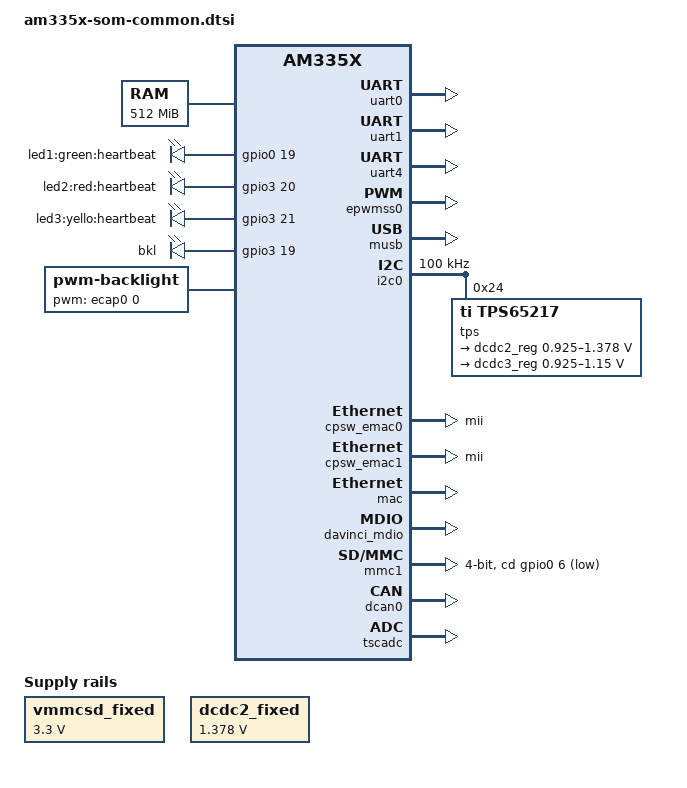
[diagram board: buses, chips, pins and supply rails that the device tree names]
/*
 * Copyright (C) 2012 Texas Instruments Incorporated - http://www.ti.com/
 *
 * This program is free software; you can redistribute it and/or modify
 * it under the terms of the GNU General Public License version 2 as
 * published by the Free Software Foundation.
 */

/ {

	cpus {
		cpu@0 {
			cpu0-supply = <&dcdc2_fixed>;
		};
	};

	memory {
		device_type = "memory";
		reg = <0x80000000 0x20000000>; /* 512 MB */
	};

	ocp {
		uart0: serial@44e09000 {
			pinctrl-names = "default";
			pinctrl-0 = <&uart0_pins>;

			status = "okay";
		};
		uart1: serial@48022000 {
			pinctrl-names = "default";
			pinctrl-0 = <&uart1_pins>;
			status = "okay";

		};
		uart4: serial@481a8000 {
			pinctrl-names = "default";
			pinctrl-0 = <&uart4_pins>;
			status = "okay";
		};

		epwmss0: epwmss@48300000 {
			status = "okay";

			ecap0: ecap@48300100 {
				status = "okay";
				pinctrl-names = "default", "sleep";
				pinctrl-0 = <&ecap0_pins_default>;
				pinctrl-1 = <&ecap0_pins_sleep>;
			};
		};

		musb: usb@47400000 {
			status = "okay";

			control@44e10000 {
				status = "okay";
			};

			usb-phy@47401300 {
				status = "okay";
			};

			usb-phy@47401b00 {
				status = "okay";
			};

			usb@47401000 {
				status = "okay";
				dr_mode = "otg";
			};

			usb@47401800 {
				status = "okay";
				dr_mode = "host";
			};

			dma-controller@07402000  {
				status = "okay";
			};
		};

		i2c0: i2c@44e0b000 {
			pinctrl-names = "default";
			pinctrl-0 = <&i2c0_pins>;
			status = "okay";
			clock-frequency = <100000>;

			tps: tps@24 {
				reg = <0x24>;
			};
		};
	};

	vmmcsd_fixed: fixedregulator@0 {
		compatible = "regulator-fixed";
		regulator-name = "vmmcsd_fixed";
		regulator-min-microvolt = <3300000>;
		regulator-max-microvolt = <3300000>;
	};

	dcdc2_fixed: fixedregulator@1 {
		/* VDD_MPU voltage limits 0.95V - 1.325V with +/-4% tolerance */
		 compatible = "regulator-fixed";
		regulator-name = "dcdc2_fixed";

		regulator-min-microvolt = <1378000>;
		regulator-max-microvolt = <1378000>;
		regulator-boot-on;
		regulator-always-on;
	};

	leds {
		pinctrl-names = "default";
		pinctrl-0 = <&user_leds_s0>;

		compatible = "gpio-leds";

		led@1 {
			label = "led1:green:heartbeat";
			gpios = <&gpio0 19 GPIO_ACTIVE_HIGH>;
			linux,default-trigger = "heartbeat";
		};

		led@2 {
			label = "led2:red:heartbeat";
			gpios = <&gpio3 20 GPIO_ACTIVE_HIGH>;
			linux,default-trigger = "heartbeat";
		};

		led@3 {
			label = "led3:yello:heartbeat";
			gpios = <&gpio3 21 GPIO_ACTIVE_HIGH>;
			linux,default-trigger = "heartbeat";
		};

		led@4 {
			label = "bkl";
			gpios = <&gpio3 19 GPIO_ACTIVE_HIGH>;
			linux,default-trigger = "default-on";
		};
	};

	backlight {
		compatible = "pwm-backlight";
		pwms = <&ecap0 0 500000 1>;
		brightness-levels = <
			0  1  2  3  4  5  6  7  8  9
			10 11 12 13 14 15 16 17 18 19
			20 21 22 23 24 25 26 27 28 29
			30 31 32 33 34 35 36 37 38 39
			40 41 42 43 44 45 46 47 48 49
			50 51 52 53 54 55 56 57 58 59
			60 61 62 63 64 65 66 67 68 69
			70 71 72 73 74 75 76 77 78 79
			80 81 82 83 84 85 86 87 88 89
			90 91 92 93 94 95 96 97 98 99
			100
		>;
		default-brightness-level = <50>;
	};
};

&am33xx_pinmux {
		pinctrl-names = "default";
		pinctrl-0 = <&clkout2_pin>;

		user_leds_s0: user_leds_s0 {
			pinctrl-single,pins = <
				0x1b0 (PIN_OUTPUT_PULLDOWN | MUX_MODE7)	/* xdma_event_intr0.gpio0_19 */
				0x198 (PIN_OUTPUT_PULLDOWN | MUX_MODE7)	/* mcasp0_axr0.gpio3_20 */
				0x1a8 (PIN_OUTPUT_PULLDOWN | MUX_MODE7)	/* mcasp0_axr1.gpio3_21 */
				0x1a4 (PIN_OUTPUT_PULLDOWN | MUX_MODE7) /* mcasp0_fsr.gpio3[19], INPUT_PULLDOWN | MODE7 */
			>;
		};

		i2c0_pins: pinmux_i2c0_pins {
			pinctrl-single,pins = <
				0x188 (PIN_INPUT_PULLUP | MUX_MODE0)	/* i2c0_sda.i2c0_sda */
				0x18c (PIN_INPUT_PULLUP | MUX_MODE0)	/* i2c0_scl.i2c0_scl */
			>;
		};

		uart0_pins: pinmux_uart0_pins {
			pinctrl-single,pins = <
				0x170 (PIN_INPUT_PULLUP | MUX_MODE0)	/* uart0_rxd.uart0_rxd */
				0x174 (PIN_OUTPUT_PULLDOWN | MUX_MODE0)	/* uart0_txd.uart0_txd */
			>;
		};

		uart1_pins: pinmux_uart1_pins {
			pinctrl-single,pins = <
				0x168 (PIN_INPUT_PULLUP | MUX_MODE1)
				0x16c (PIN_OUTPUT_PULLDOWN | MUX_MODE1)
			>;
		};

		uart4_pins: pinmux_uart4_pins {
			pinctrl-single,pins = <
				0x180 (PIN_INPUT_PULLUP | MUX_MODE0)
				0x184 (PIN_OUTPUT_PULLDOWN | MUX_MODE0)
			>;
		};



		clkout2_pin: pinmux_clkout2_pin {
			pinctrl-single,pins = <
				0x1b4 (PIN_OUTPUT_PULLDOWN | MUX_MODE7)	/* xdma_event_intr1.clkout2 */
			>;
		};

		cpsw_default: cpsw_default {
			pinctrl-single,pins = <
				/* Slave 1 */
				0x110 (PIN_INPUT_PULLUP | MUX_MODE0)	/* mii1_rxerr.mii1_rxerr */
				0x114 (PIN_OUTPUT_PULLDOWN | MUX_MODE0)	/* mii1_txen.mii1_txen */
				0x118 (PIN_INPUT_PULLUP | MUX_MODE0)	/* mii1_rxdv.mii1_rxdv */
				0x11c (PIN_OUTPUT_PULLDOWN | MUX_MODE0)	/* mii1_txd3.mii1_txd3 */
				0x120 (PIN_OUTPUT_PULLDOWN | MUX_MODE0)	/* mii1_txd2.mii1_txd2 */
				0x124 (PIN_OUTPUT_PULLDOWN | MUX_MODE0)	/* mii1_txd1.mii1_txd1 */
				0x128 (PIN_OUTPUT_PULLDOWN | MUX_MODE0)	/* mii1_txd0.mii1_txd0 */
				0x12c (PIN_INPUT_PULLUP | MUX_MODE0)	/* mii1_txclk.mii1_txclk */
				0x130 (PIN_INPUT_PULLUP | MUX_MODE0)	/* mii1_rxclk.mii1_rxclk */
				0x134 (PIN_INPUT_PULLUP | MUX_MODE0)	/* mii1_rxd3.mii1_rxd3 */
				0x138 (PIN_INPUT_PULLUP | MUX_MODE0)	/* mii1_rxd2.mii1_rxd2 */
				0x13c (PIN_INPUT_PULLUP | MUX_MODE0)	/* mii1_rxd1.mii1_rxd1 */
				0x140 (PIN_INPUT_PULLUP | MUX_MODE0)	/* mii1_rxd0.mii1_rxd0 */

				0x040 (PIN_OUTPUT_PULLDOWN | MUX_MODE1) /* gpmc_a0.gmii2_txen, OUTPUT_PULLDOWN | MODE1 */
				0x044 (PIN_INPUT_PULLDOWN | MUX_MODE1 ) /* gpmc_a1.gmii2_rxdv, INPUT_PULLDOWN | MODE1 */
				0x048 (PIN_OUTPUT_PULLDOWN | MUX_MODE1) /* gpmc_a2.gmii2_txd3, OUTPUT_PULLDOWN | MODE1 */
				0x04c (PIN_OUTPUT_PULLDOWN | MUX_MODE1) /* gpmc_a3.gmii2_txd2, OUTPUT_PULLDOWN | MODE1 */
				0x050 (PIN_OUTPUT_PULLDOWN | MUX_MODE1) /* gpmc_a4.gmii2_txd1, OUTPUT_PULLDOWN | MODE1 */
				0x054 (PIN_OUTPUT_PULLDOWN | MUX_MODE1) /* gpmc_a5.gmii2_txd0, OUTPUT_PULLDOWN | MODE1 */
				0x058 (PIN_INPUT_PULLDOWN | MUX_MODE1 ) /* gpmc_a6.gmii2_txclk, INPUT_PULLDOWN | MODE1 */
				0x05c (PIN_INPUT_PULLDOWN | MUX_MODE1 ) /* gpmc_a7.gmii2_rxclk, INPUT_PULLDOWN | MODE1 */
				0x060 (PIN_INPUT_PULLDOWN | MUX_MODE1 ) /* gpmc_a8.gmii2_rxd3, INPUT_PULLDOWN | MODE1 */
				0x064 (PIN_INPUT_PULLDOWN | MUX_MODE1 ) /* gpmc_a9.gmii2_rxd2, INPUT_PULLDOWN | MODE1 */
				0x068 (PIN_INPUT_PULLDOWN | MUX_MODE1 ) /* gpmc_a10.gmii2_rxd1, INPUT_PULLDOWN | MODE1 */
				0x06c (PIN_INPUT_PULLDOWN | MUX_MODE1 ) /* gpmc_a11.gmii2_rxd0, INPUT_PULLDOWN | MODE1 */
				0x070 (PIN_INPUT_PULLUP | MUX_MODE1 )   /* gpmc_wait0.gmii2_crs, INPUT_PULLUP | MODE1 */
				0x074 (PIN_INPUT_PULLUP | MUX_MODE1 )   /* gpmc_wpn.gmii2_rxer, INPUT_PULLUP | MODE1 */
				0x078 (PIN_INPUT_PULLUP | MUX_MODE1 )   /* gpmc_ben1.gmii2_col, INPUT_PULLUP | MODE1 */
			>;
		};

		cpsw_sleep: cpsw_sleep {
			pinctrl-single,pins = <
				/* Slave 1 reset value */
				0x110 (PIN_INPUT_PULLDOWN | MUX_MODE7)
				0x114 (PIN_INPUT_PULLDOWN | MUX_MODE7)
				0x118 (PIN_INPUT_PULLDOWN | MUX_MODE7)
				0x11c (PIN_INPUT_PULLDOWN | MUX_MODE7)
				0x120 (PIN_INPUT_PULLDOWN | MUX_MODE7)
				0x124 (PIN_INPUT_PULLDOWN | MUX_MODE7)
				0x128 (PIN_INPUT_PULLDOWN | MUX_MODE7)
				0x12c (PIN_INPUT_PULLDOWN | MUX_MODE7)
				0x130 (PIN_INPUT_PULLDOWN | MUX_MODE7)
				0x134 (PIN_INPUT_PULLDOWN | MUX_MODE7)
				0x138 (PIN_INPUT_PULLDOWN | MUX_MODE7)
				0x13c (PIN_INPUT_PULLDOWN | MUX_MODE7)
				0x140 (PIN_INPUT_PULLDOWN | MUX_MODE7)

				0x40 (PIN_INPUT_PULLDOWN | MUX_MODE7)
				0x44 (PIN_INPUT_PULLDOWN | MUX_MODE7)
				0x48 (PIN_INPUT_PULLDOWN | MUX_MODE7)
				0x4c (PIN_INPUT_PULLDOWN | MUX_MODE7)
				0x50 (PIN_INPUT_PULLDOWN | MUX_MODE7)
				0x54 (PIN_INPUT_PULLDOWN | MUX_MODE7)
				0x58 (PIN_INPUT_PULLDOWN | MUX_MODE7)
				0x5c (PIN_INPUT_PULLDOWN | MUX_MODE7)
				0x60 (PIN_INPUT_PULLDOWN | MUX_MODE7)
				0x64 (PIN_INPUT_PULLDOWN | MUX_MODE7)
				0x68 (PIN_INPUT_PULLDOWN | MUX_MODE7)
				0x6c (PIN_INPUT_PULLDOWN | MUX_MODE7)
				0x070 (PIN_INPUT_PULLDOWN | MUX_MODE7)
				0x074 (PIN_INPUT_PULLDOWN | MUX_MODE7)
				0x078 (PIN_INPUT_PULLDOWN | MUX_MODE7)
			>;
		};

		davinci_mdio_default: davinci_mdio_default {
			pinctrl-single,pins = <
				/* MDIO */
				0x148 (PIN_INPUT_PULLUP | SLEWCTRL_FAST | MUX_MODE0)	/* mdio_data.mdio_data */
				0x14c (PIN_OUTPUT_PULLUP | MUX_MODE0)			/* mdio_clk.mdio_clk */
			>;
		};

		davinci_mdio_sleep: davinci_mdio_sleep {
			pinctrl-single,pins = <
				/* MDIO reset value */
				0x148 (PIN_INPUT_PULLDOWN | MUX_MODE7)
				0x14c (PIN_INPUT_PULLDOWN | MUX_MODE7)
			>;
		};

		mmc1_pins_default: pinmux_mmc1_pins {
			pinctrl-single,pins = <
				0x0F0 (PIN_INPUT_PULLUP | MUX_MODE0)	/* mmc0_dat3.mmc0_dat3 */
				0x0F4 (PIN_INPUT_PULLUP | MUX_MODE0)	/* mmc0_dat2.mmc0_dat2 */
				0x0F8 (PIN_INPUT_PULLUP | MUX_MODE0)	/* mmc0_dat1.mmc0_dat1 */
				0x0FC (PIN_INPUT_PULLUP | MUX_MODE0)	/* mmc0_dat0.mmc0_dat0 */
				0x100 (PIN_INPUT_PULLUP | MUX_MODE0)	/* mmc0_clk.mmc0_clk */
				0x104 (PIN_INPUT_PULLUP | MUX_MODE0)	/* mmc0_cmd.mmc0_cmd */
				0x1A0 (PIN_INPUT_PULLUP | MUX_MODE7)	/* mcasp0_aclkr.gpio3_18 */
				0x160 (PIN_INPUT | MUX_MODE7)		/* spi0_cs1.gpio0_6 */
			>;
		};

		mmc1_pins_sleep: pinmux_mmc1_pins_sleep {
			pinctrl-single,pins = <
				0x0F0 (PIN_INPUT_PULLDOWN | MUX_MODE7)
				0x0F4 (PIN_INPUT_PULLDOWN | MUX_MODE7)
				0x0F8 (PIN_INPUT_PULLDOWN | MUX_MODE7)
				0x0FC (PIN_INPUT_PULLDOWN | MUX_MODE7)
				0x100 (PIN_INPUT_PULLDOWN | MUX_MODE7)
				0x104 (PIN_INPUT_PULLDOWN | MUX_MODE7)
				0x1A0 (PIN_INPUT_PULLDOWN | MUX_MODE7)
				0x160 (PIN_INPUT_PULLDOWN | MUX_MODE7)
			>;
		};

		emmc_pins: pinmux_emmc_pins {
			pinctrl-single,pins = <
				0x80 (PIN_INPUT_PULLUP | MUX_MODE2) /* gpmc_csn1.mmc1_clk */
				0x84 (PIN_INPUT_PULLUP | MUX_MODE2) /* gpmc_csn2.mmc1_cmd */
				0x00 (PIN_INPUT_PULLUP | MUX_MODE1) /* gpmc_ad0.mmc1_dat0 */
				0x04 (PIN_INPUT_PULLUP | MUX_MODE1) /* gpmc_ad1.mmc1_dat1 */
				0x08 (PIN_INPUT_PULLUP | MUX_MODE1) /* gpmc_ad2.mmc1_dat2 */
				0x0c (PIN_INPUT_PULLUP | MUX_MODE1) /* gpmc_ad3.mmc1_dat3 */
				0x10 (PIN_INPUT_PULLUP | MUX_MODE1) /* gpmc_ad4.mmc1_dat4 */
				0x14 (PIN_INPUT_PULLUP | MUX_MODE1) /* gpmc_ad5.mmc1_dat5 */
				0x18 (PIN_INPUT_PULLUP | MUX_MODE1) /* gpmc_ad6.mmc1_dat6 */
				0x1c (PIN_INPUT_PULLUP | MUX_MODE1) /* gpmc_ad7.mmc1_dat7 */
			>;
		};

			ecap0_pins_default: backlight_pins {
			pinctrl-single,pins = <
				0x164 0x0       /* eCAP0_in_PWM0_out.eCAP0_in_PWM0_out MODE0 */
			>;
		};

		ecap0_pins_sleep: ecap0_pins_sleep {
			pinctrl-single,pins = <
				0x164  (PULL_DISABLE | MUX_MODE7)       /* eCAP0_in_PWM0_out.eCAP0_in_PWM0_out */
			>;
		};
		dcan0_default: dcan0_default_pins {
			pinctrl-single,pins = <
				0x178 0x0a      /* uart1_ctsn.dcan0_tx_mux2, OUTPUT | MODE2 */
				0x17c 0x2a      /* uart1_rtsn.dcan0_rx_mux2, INPUT | MODE2 */
			>;
		};
	};

&tps {
	compatible = "ti,tps65217";
	regulators {
		#address-cells = <1>;
		#size-cells = <0>;

		dcdc1_reg: regulator@0 {
			reg = <0>;
			regulator-always-on;
		};

		dcdc2_reg: regulator@1 {
			reg = <1>;
			/* VDD_MPU voltage limits 0.95V - 1.325V with +/-4% tolerance */
			regulator-name = "vdd_mpu";
			regulator-min-microvolt = <925000>;
			regulator-max-microvolt = <1378000>;
			regulator-boot-on;
			regulator-always-on;
		};

		dcdc3_reg: regulator@2 {
			reg = <2>;
			/* VDD_CORE voltage limits 0.95V - 1.1V with +/-4% tolerance */
			regulator-name = "vdd_core";
			regulator-min-microvolt = <925000>;
			regulator-max-microvolt = <1150000>;
			regulator-boot-on;
			regulator-always-on;
		};

		ldo1_reg: regulator@3 {
			reg = <3>;
			regulator-always-on;
		};

		ldo2_reg: regulator@4 {
			reg = <4>;
			regulator-always-on;
		};

		ldo3_reg: regulator@5 {
			reg = <5>;
			regulator-always-on;
		};

		ldo4_reg: regulator@6 {
			reg = <6>;
			regulator-always-on;
		};
	};
};

&cpsw_emac0 {
	phy_id = <&davinci_mdio>, <0>;
	phy-mode = "mii";
};

&cpsw_emac1 {
	phy_id = <&davinci_mdio>, <1>;
	phy-mode = "mii";
};

&mac {
	pinctrl-names = "default", "sleep";
	pinctrl-0 = <&cpsw_default>;
	pinctrl-1 = <&cpsw_sleep>;
	slaves = <2>;
	dual_emac = <1>;
	status = "okay";
};

&davinci_mdio {
	pinctrl-names = "default", "sleep";
	pinctrl-0 = <&davinci_mdio_default>;
	pinctrl-1 = <&davinci_mdio_sleep>;
	status = "okay";
};

&mmc1 {
	status = "okay";
	bus-width = <0x4>;
	pinctrl-names = "default", "sleep";
	pinctrl-0 = <&mmc1_pins_default>;
	pinctrl-1 = <&mmc1_pins_sleep>;
	cd-gpios = <&gpio0 6 GPIO_ACTIVE_HIGH>;
	cd-inverted;
};

&dcan0 {
	pinctrl-names = "default";
	pinctrl-0 = <&dcan0_default>;
	status = "okay";
};

&tscadc {
	status = "okay";
	tsc {
		ti,wires = <4>;
		ti,x-plate-resistance = <200>;
		ti,coordinate-readouts = <5>;
		ti,wire-config = <0x00 0x11 0x22 0x33>;
	};

	adc {
		ti,adc-channels = <0 1 2 3>;
	};
};
